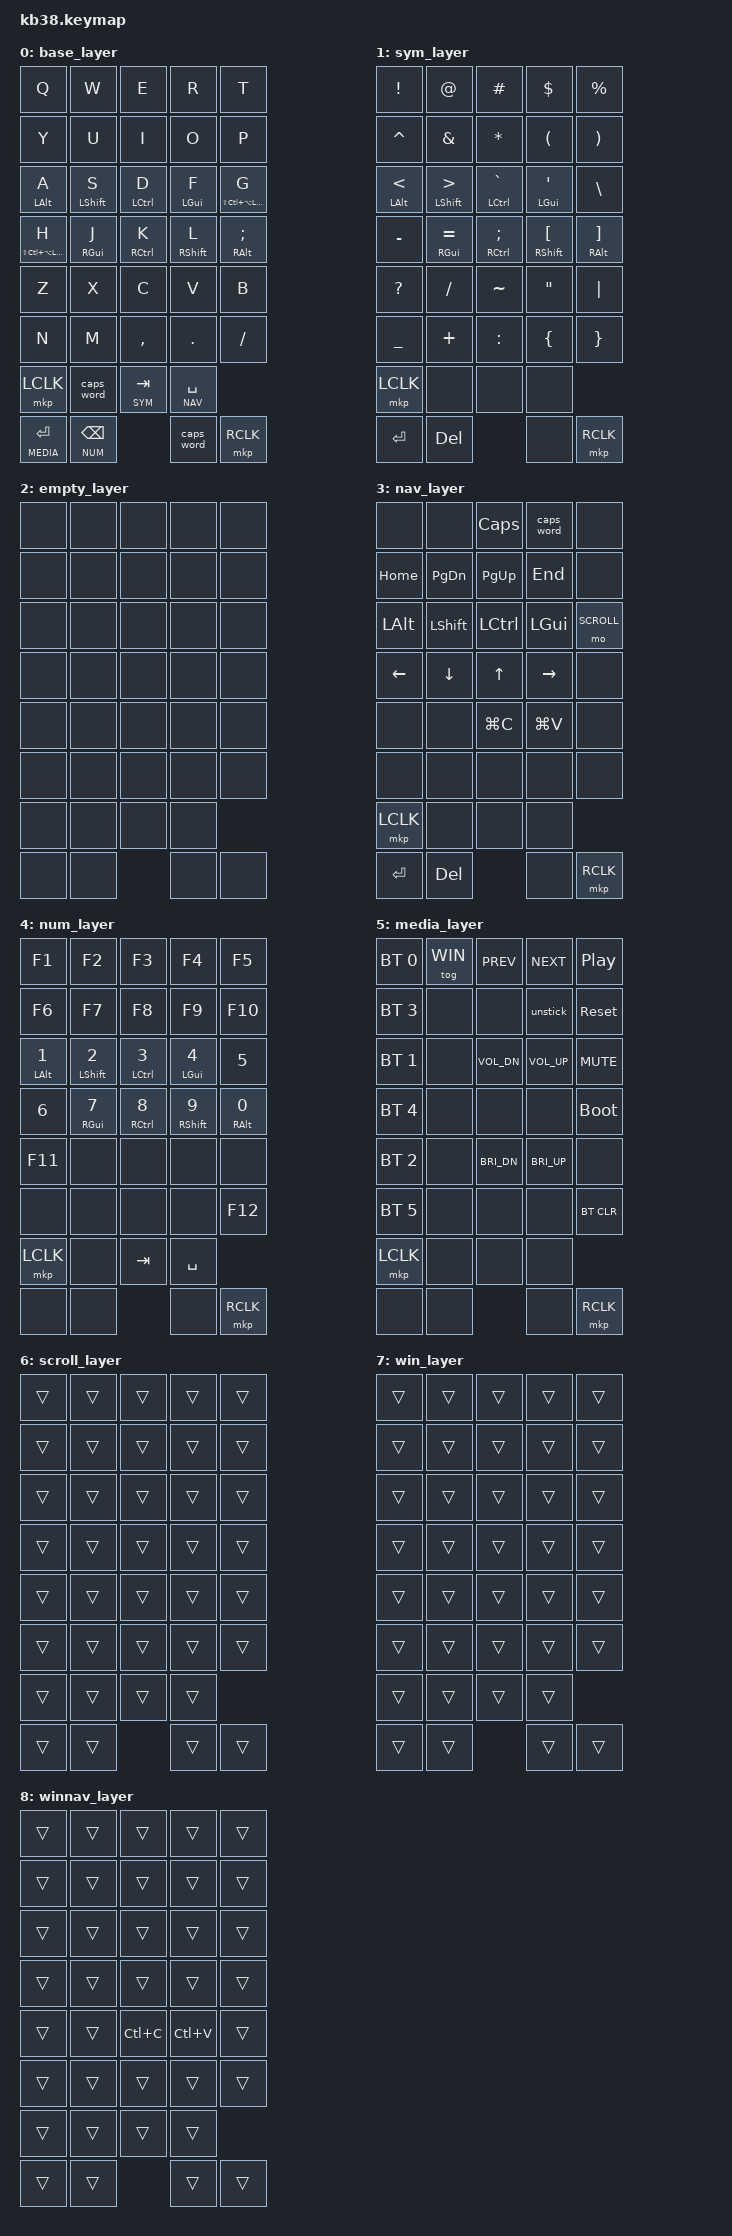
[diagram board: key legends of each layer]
/*
 * KB38 keymap — shares its layout with nsinotov/sweep-split-keyboard
 *
 * Key index reference:
 *
 *  [ 0][ 1][ 2][ 3][ 4]   [ 5][ 6][ 7][ 8][ 9]
 *  [10][11][12][13][14]   [15][16][17][18][19]
 *  [20][21][22][23][24]   [25][26][27][28][29]
 *      [30][31][32][33]   [34][35][36][37]
 *      LCLK CW   Tab↓SY Spc↓NA Ent↓ME Bsp↓NU CW  RCLK
 *
 * Layers:
 *   0 BASE   – QWERTY + home-row mods
 *   1 SYM    – symbols (activated by Tab thumb hold)
 *   2 EMPTY  – intentionally blank (firmware bug workaround, keep as-is)
 *   3 NAV    – navigation (activated by Space thumb hold)
 *   4 NUM    – numbers / F-keys (activated by Bspc thumb hold)
 *   5 MEDIA  – BT / media / system (activated by Enter thumb hold)
 *   6 SCROLL – trackpad scroll mode (hold G on NAV)
 *   7 WIN    – toggle flag for Windows/Linux mode (all transparent)
 *   8 WINNAV – conditional (NAV + WIN): Ctrl-based copy/paste
 *
 * Positional home-row mods (ASCG on both sides):
 *   Left : A=Alt  S=Shift  D=Ctrl  F=GUI  G=Hyper  (trigger on right-hand keys)
 *   Right: H=Hyper  J=GUI  K=Ctrl  L=Shift  ;=Alt  (trigger on left-hand keys)
 *
 * Combos: S+D → ESC · K+L → ESC
 */

#include <behaviors.dtsi>
#include <dt-bindings/zmk/keys.h>
#include <dt-bindings/zmk/bt.h>
#include <dt-bindings/zmk/outputs.h>
#include <dt-bindings/zmk/pointing.h>

/* Layer indices */
#define BASE  0
#define SYM   1
#define EMPTY_L 2
#define NAV   3
#define NUM   4
#define MEDIA 5
#define SCROLL 6
#define WIN    7  /* toggle flag: Windows/Linux mode (all transparent) */
#define WINNAV 8  /* conditional: NAV + WIN → Ctrl-based copy/paste */

/* Hyper = all four mods */
#define HYPER LS(LC(LA(LGUI)))

/ {
    /* ── Behaviors ────────────────────────────────────────────────────────── */
    behaviors {

        /*
         * Positional home-row mods — left-hand mods only trigger on right-hand
         * keys (and vice versa). This prevents accidental mod activation when
         * typing fast same-hand sequences like "as", "df", etc.
         *
         * Shift variants have a lower require-prior-idle so shift activates
         * more eagerly (useful for capitalizing the next letter).
         */

        /* left-hand mods (trigger on right-hand + thumb keys) */
        hml: homerow_mods_left {
            compatible = "zmk,behavior-hold-tap";
            #binding-cells = <2>;
            tapping-term-ms = <220>;
            quick-tap-ms    = <150>;
            require-prior-idle-ms = <180>;
            flavor = "balanced";
            bindings = <&kp>, <&kp>;
            hold-trigger-key-positions = <5 6 7 8 9 15 16 17 18 19 25 26 27 28 29 30 31 32 33 34 35 36 37>;
            hold-trigger-on-release;
        };

        /* left-hand shift (lower idle threshold for eager activation) */
        hml_shift: homerow_shift_left {
            compatible = "zmk,behavior-hold-tap";
            #binding-cells = <2>;
            tapping-term-ms = <220>;
            quick-tap-ms    = <150>;
            require-prior-idle-ms = <125>;
            flavor = "balanced";
            bindings = <&kp>, <&kp>;
            hold-trigger-key-positions = <5 6 7 8 9 15 16 17 18 19 25 26 27 28 29 30 31 32 33 34 35 36 37>;
            hold-trigger-on-release;
        };

        /* right-hand mods (trigger on left-hand + thumb keys) */
        hmr: homerow_mods_right {
            compatible = "zmk,behavior-hold-tap";
            #binding-cells = <2>;
            tapping-term-ms = <220>;
            quick-tap-ms    = <150>;
            require-prior-idle-ms = <180>;
            flavor = "balanced";
            bindings = <&kp>, <&kp>;
            hold-trigger-key-positions = <0 1 2 3 4 10 11 12 13 14 20 21 22 23 24 30 31 32 33 34 35 36 37>;
            hold-trigger-on-release;
        };

        /* right-hand shift (lower idle threshold for eager activation) */
        hmr_shift: homerow_shift_right {
            compatible = "zmk,behavior-hold-tap";
            #binding-cells = <2>;
            tapping-term-ms = <220>;
            quick-tap-ms    = <150>;
            require-prior-idle-ms = <125>;
            flavor = "balanced";
            bindings = <&kp>, <&kp>;
            hold-trigger-key-positions = <0 1 2 3 4 10 11 12 13 14 20 21 22 23 24 30 31 32 33 34 35 36 37>;
            hold-trigger-on-release;
        };

        /* hyper mod (triggers on keys from both hands) */
        hyp: hyper_mods {
            compatible = "zmk,behavior-hold-tap";
            #binding-cells = <2>;
            tapping-term-ms = <220>;
            quick-tap-ms    = <150>;
            require-prior-idle-ms = <180>;
            flavor = "balanced";
            bindings = <&kp>, <&kp>;
            hold-trigger-key-positions = <0 1 2 3 4 5 6 7 8 9 10 11 12 13 15 16 17 18 19 20 21 22 23 24 25 26 27 28 29 30 31 32 33 34 35 36 37>;
            hold-trigger-on-release;
        };

        /*
         * lt_repeat — layer-tap with key-repeat support
         *   Single tap   → send key once
         *   Hold         → activate layer
         *   Tap-tap-hold → key repeats
         *
         *   quick-tap-ms < tapping-term-ms to avoid switch bounce
         *   triggering the repeat path instead of the layer hold.
         */
        lt_repeat: lt_repeat {
            compatible = "zmk,behavior-hold-tap";
            #binding-cells = <2>;
            tapping-term-ms = <200>;
            quick-tap-ms    = <200>;
            flavor = "balanced";
            bindings = <&mo>, <&kp>;
        };
    };

    /* ── Macros ───────────────────────────────────────────────────────────── */
    macros {
        /* unstick — tap every modifier once to release any stuck mod */
        unstick: unstick {
            compatible = "zmk,behavior-macro";
            #binding-cells = <0>;
            bindings =
                <&kp LSHIFT &kp RSHIFT
                 &kp LCTRL  &kp RCTRL
                 &kp LALT   &kp RALT
                 &kp LGUI   &kp RGUI>;
        };
    };

    /* ── Conditional layers ───────────────────────────────────────────────── */
    conditional_layers {
        compatible = "zmk,conditional-layers";

        /* NAV + WIN → Ctrl-based copy/paste */
        win_nav {
            if-layers = <NAV WIN>;
            then-layer = <WINNAV>;
        };
    };

    /* ── Combos ───────────────────────────────────────────────────────────── */
    combos {
        compatible = "zmk,combos";

        /* S(11) + D(12) → ESC — left hand */
        combo_esc_l {
            timeout-ms = <50>;
            key-positions = <11 12>;
            bindings = <&kp ESC>;
            layers = <BASE>;
        };

        /* K(17) + L(18) → ESC — right hand */
        combo_esc_r {
            timeout-ms = <50>;
            key-positions = <17 18>;
            bindings = <&kp ESC>;
            layers = <BASE>;
        };
    };

    /* ── Keymap ───────────────────────────────────────────────────────────── */
    keymap {
        compatible = "zmk,keymap";

        /* ── Layer 0: BASE ─────────────────────────────────────────────────
         *
         *  Q    W    E    R    T        Y    U    I    O    P
         *  A/⌥  S/⇧  D/⌃  F/⌘  G/HYP   H/HYP J/⌘  K/⌃  L/⇧  ;/⌥
         *  Z    X    C    V    B        N    M    ,    .    /
         *  LCLK CW Tab↓SY Spc↓NA  Ent↓ME Bsp↓NU CW RCLK
         */
        base_layer {
            bindings = <
                &kp Q           &kp W           &kp E           &kp R           &kp T
                &kp Y           &kp U           &kp I           &kp O           &kp P

                &hml LALT A         &hml_shift LSHFT S    &hml LCTRL D  &hml LGUI F     &hyp HYPER G
                &hyp HYPER H        &hmr RGUI J         &hmr RCTRL K  &hmr_shift RSHFT L    &hmr RALT SEMI

                &kp Z           &kp X           &kp C           &kp V           &kp B
                &kp N           &kp M           &kp COMMA       &kp DOT         &kp FSLH

                &mkp LCLK   &caps_word &lt_repeat SYM TAB   &lt_repeat NAV SPACE
                &lt_repeat MEDIA RET   &lt_repeat NUM BSPC   &caps_word   &mkp RCLK
            >;
        };

        /* ── Layer 1: SYM ──────────────────────────────────────────────────
         *
         *  !    @    #    $    %        ^    &    *    (    )
         *  </⌥  >/⇧  `/⌃  '/⌘  \        -    =/⌘  ;/⌃  [/⇧  ]/⌥
         *  ?    /    ~    "    |        _    +    :    {    }
         *  LCLK ____ ___  ___    ENT  DEL  ____  RCLK
         */
        sym_layer {
            bindings = <
                &kp EXCL            &kp AT              &kp HASH            &kp DLLR            &kp PRCNT
                &kp CARET           &kp AMPS            &kp ASTRK           &kp LPAR            &kp RPAR

                &hml LALT LT          &hml_shift LSHFT GT     &hml LCTRL GRAVE &hml LGUI SQT    &kp BSLH
                &kp MINUS             &hmr RGUI EQUAL         &hmr RCTRL SEMI   &hmr_shift RSHFT LBKT   &hmr RALT RBKT

                &kp QMARK           &kp FSLH            &kp TILDE           &kp DQT             &kp PIPE
                &kp UNDER           &kp PLUS            &kp COLON           &kp LBRC            &kp RBRC

                &mkp LCLK   &none    &none    &none
                &kp RET     &kp DEL  &none    &mkp RCLK
            >;
        };

        /* ── Layer 2: EMPTY (intentional – firmware bug workaround) ───────── */
        empty_layer {
            bindings = <
                &none  &none  &none  &none  &none    &none  &none  &none  &none  &none
                &none  &none  &none  &none  &none    &none  &none  &none  &none  &none
                &none  &none  &none  &none  &none    &none  &none  &none  &none  &none
                &none  &none  &none  &none           &none  &none  &none  &none
            >;
        };

        /* ── Layer 3: NAV ──────────────────────────────────────────────────
         *
         *  ---  ---   CAPS CW   ---      HOME PgDn PgUp END  ---
         *  ⌥    ⇧     ⌃    ⌘    SCRL     ←    ↓    ↑    →   ---
         *  ---  ---   COPY PSTE ---      ---  ---  ---  ---  ---
         *  LCLK ____  ___  ___   ENT  DEL  ____  RCLK
         *
         *  COPY/PSTE = ⌘C/⌘V (Ctrl+C/Ctrl+V when WIN mode is on)
         */
        nav_layer {
            bindings = <
                &none           &none           &kp CAPS        &caps_word      &none
                &kp HOME        &kp PG_DN       &kp PG_UP       &kp END         &none

                &kp LALT        &kp LSHFT       &kp LCTRL       &kp LGUI        &mo SCROLL
                &kp LEFT        &kp DOWN        &kp UP          &kp RIGHT       &none

                &none           &none           &kp LG(C)       &kp LG(V)       &none
                &none           &none           &none           &none           &none

                &mkp LCLK   &none    &none     &none
                &kp RET     &kp DEL  &none     &mkp RCLK
            >;
        };

        /* ── Layer 4: NUM ──────────────────────────────────────────────────
         *
         *  F1   F2   F3   F4   F5       F6   F7   F8   F9   F10
         *  1/⌥  2/⇧  3/⌃  4/⌘  5        6    7/⌘  8/⌃  9/⇧  0/⌥
         *  F11  ---  ---  ---  ---      ---  ---  ---  ---  F12
         *  LCLK ____  TAB  SPC    ENT  ___  ____  RCLK
         */
        num_layer {
            bindings = <
                &kp F1          &kp F2          &kp F3          &kp F4          &kp F5
                &kp F6          &kp F7          &kp F8          &kp F9          &kp F10

                &hml LALT N1         &hml_shift LSHFT N2   &hml LCTRL N3  &hml LGUI N4     &kp N5
                &kp N6               &hmr RGUI N7         &hmr RCTRL N8  &hmr_shift RSHFT N9   &hmr RALT N0

                &kp F11         &none           &none           &none           &none
                &none           &none           &none           &none           &kp F12

                &mkp LCLK   &none    &kp TAB   &kp SPACE
                &none       &none    &none     &mkp RCLK
            >;
        };

        /* ── Layer 5: MEDIA / BT / System ─────────────────────────────────
         *
         *  BT0  WIN  |<<  >>|  >||     BT3  ---  ---  UNSTK RESET
         *  BT1  ---  VOL- VOL+ MUTE    BT4  ---  ---  ---   BOOT
         *  BT2  ---  BRI- BRI+ ---     BT5  ---  ---  ---   BTCLR
         *  LCLK ____  ---  ---   ___  ---  ____  RCLK
         */
        media_layer {
            bindings = <
                &bt BT_SEL 0   &tog WIN        &kp C_PREV      &kp C_NEXT      &kp C_PP
                &bt BT_SEL 3   &none           &none           &unstick        &sys_reset

                &bt BT_SEL 1   &none           &kp C_VOL_DN    &kp C_VOL_UP    &kp C_MUTE
                &bt BT_SEL 4   &none           &none           &none           &bootloader

                &bt BT_SEL 2   &none           &kp C_BRI_DN    &kp C_BRI_UP    &none
                &bt BT_SEL 5   &none           &none           &none           &bt BT_CLR

                &mkp LCLK   &none    &none    &none
                &none       &none    &none    &mkp RCLK
            >;
        };

        /* ── Layer 6: SCROLL — trackpad becomes scroll (Space + G) ────────── */
        scroll_layer {
            bindings = <
                &trans  &trans  &trans  &trans  &trans    &trans  &trans  &trans  &trans  &trans
                &trans  &trans  &trans  &trans  &trans    &trans  &trans  &trans  &trans  &trans
                &trans  &trans  &trans  &trans  &trans    &trans  &trans  &trans  &trans  &trans
                &trans  &trans  &trans  &trans            &trans  &trans  &trans  &trans
            >;
        };

        /* ── Layer 7: WIN — toggle flag, toggled from MEDIA (all transparent) ── */
        win_layer {
            bindings = <
                &trans  &trans  &trans  &trans  &trans    &trans  &trans  &trans  &trans  &trans
                &trans  &trans  &trans  &trans  &trans    &trans  &trans  &trans  &trans  &trans
                &trans  &trans  &trans  &trans  &trans    &trans  &trans  &trans  &trans  &trans
                &trans  &trans  &trans  &trans            &trans  &trans  &trans  &trans
            >;
        };

        /* ── Layer 8: WINNAV — active when NAV + WIN: Ctrl copy/paste ─────── */
        winnav_layer {
            bindings = <
                &trans  &trans  &trans     &trans     &trans    &trans  &trans  &trans  &trans  &trans
                &trans  &trans  &trans     &trans     &trans    &trans  &trans  &trans  &trans  &trans
                &trans  &trans  &kp LC(C)  &kp LC(V)  &trans    &trans  &trans  &trans  &trans  &trans
                &trans  &trans  &trans     &trans               &trans  &trans  &trans  &trans
            >;
        };
    };
};
